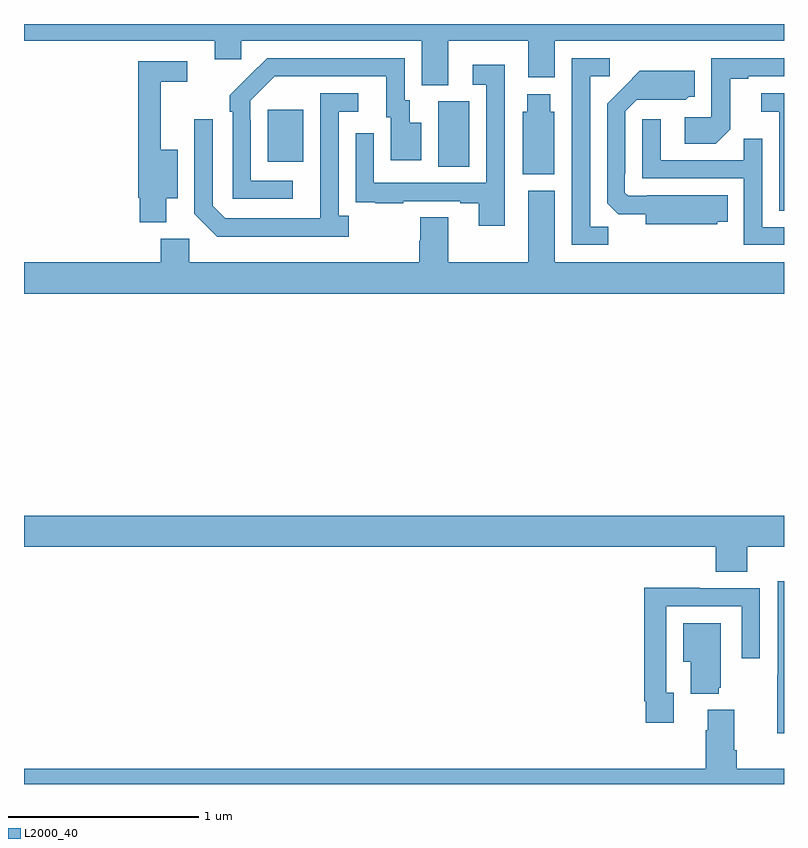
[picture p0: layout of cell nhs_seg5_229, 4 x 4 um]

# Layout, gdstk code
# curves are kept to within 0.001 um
import gdstk
lib = gdstk.Library(unit=1e-6, precision=1e-09)
def R(c, l, rs):  # rectangles x0, y0, x1, y1
    for r in rs: c.add(gdstk.rectangle(r[:2], r[2:], *l))
def P(c, l, *ps):  # polygons
    for p in ps: c.add(gdstk.Polygon(p, *l))
L2000_40 = (2000, 40)

nhs_seg5_229 = lib.new_cell('nhs_seg5_229')
R(nhs_seg5_229, L2000_40, [(125.18,904.048,125.344,904.392), (124.283,904.073,124.471,904.348)])
P(nhs_seg5_229, L2000_40, [(125.233,904.712),(125.654,904.712),(125.654,904.518),(125.794,904.518),(125.794,904.712),(127,904.712),(127,904.799),(123,904.799),(123,904.712),(124.004,904.712),(124.004,904.614),(124.143,904.614),(124.143,904.712),(125.093,904.712),(125.093,904.477),(125.233,904.477)],
  [(124.414,903.975),(124.194,903.975),(124.194,904.295),(124.191,904.295),(124.191,904.395),(124.32,904.524),(124.907,904.524),(124.907,904.308),(124.931,904.308),(124.931,904.083),(125.092,904.083),(125.092,904.279),(125.029,904.279),(125.029,904.398),(125.004,904.398),(125.004,904.62),(124.28,904.62),(124.083,904.425),(124.083,904.337),(124.098,904.337),(124.098,903.879),(124.414,903.879)],
  [(126.075,903.731),(125.979,903.731),(125.979,904.524),(126.082,904.524),(126.082,904.62),(125.883,904.62),(125.883,903.636),(126.075,903.636)],
  [(126.717,904.244),(126.717,904.512),(126.811,904.512),(126.811,904.524),(127,904.524),(127,904.62),(126.618,904.62),(126.618,904.308),(126.477,904.308),(126.477,904.168),(126.641,904.168)],
  [(123.748,903.881),(123.808,903.881),(123.808,904.138),(123.719,904.138),(123.719,904.494),(123.859,904.494),(123.859,904.602),(123.601,904.602),(123.601,903.885),(123.608,903.885),(123.608,903.755),(123.748,903.755)],
  [(125.529,904.585),(125.361,904.585),(125.361,904.479),(125.433,904.479),(125.433,903.963),(124.842,903.963),(124.842,904.225),(124.746,904.225),(124.746,903.97),(124.747,903.97),(124.747,903.861),(124.849,903.861),(124.849,903.855),(124.997,903.855),(124.997,903.867),(125.297,903.867),(125.297,903.855),(125.393,903.855),(125.393,903.738),(125.529,903.738)],
  [(126.648,903.758),(126.704,903.758),(126.704,903.898),(126.28,903.898),(126.28,903.894),(126.18,903.894),(126.162,903.912),(126.162,904.012),(126.165,904.012),(126.165,904.341),(126.225,904.401),(126.482,904.4),(126.498,904.416),(126.529,904.416),(126.529,904.552),(126.241,904.552),(126.069,904.378),(126.069,903.856),(126.128,903.797),(126.272,903.797),(126.272,903.746),(126.648,903.746)],
  [(124.708,903.79),(124.656,903.79),(124.656,904.338),(124.759,904.338),(124.759,904.434),(124.56,904.434),(124.559,903.777),(124.059,903.777),(123.993,903.843),(123.993,904.297),(123.897,904.297),(123.897,903.801),(124.018,903.68),(124.708,903.68)],
  [(127,904.434),(126.879,904.434),(126.879,904.337),(126.975,904.337),(126.975,903.817),(127,903.817)],
  [(125.791,904.338),(125.77,904.338),(125.77,904.429),(125.648,904.429),(125.648,904.338),(125.624,904.338),(125.624,904.007),(125.791,904.007)],
  [(127,903.729),(126.885,903.729),(126.885,904.196),(126.787,904.196),(126.787,904.083),(126.351,904.083),(126.351,904.297),(126.255,904.297),(126.255,903.987),(126.789,903.987),(126.789,903.636),(127,903.636)],
  [(127,903.544),(125.794,903.544),(125.794,903.922),(125.654,903.922),(125.654,903.544),(125.233,903.544),(125.233,903.782),(125.086,903.782),(125.086,903.657),(125.081,903.657),(125.081,903.544),(123.87,903.544),(123.87,903.67),(123.719,903.67),(123.719,903.544),(123,903.544),(123,903.38),(127,903.38)],
  [(126.806,902.048),(127,902.048),(127,902.212),(123,902.212),(123,902.048),(126.641,902.048),(126.641,901.915),(126.806,901.915)],
  [(127,901.867),(126.966,901.867),(126.966,901.373),(126.964,901.373),(126.964,901.067),(127,901.067)],
  [(126.421,901.278),(126.381,901.278),(126.381,901.734),(126.777,901.734),(126.777,901.461),(126.873,901.461),(126.873,901.83),(126.557,901.83),(126.557,901.832),(126.265,901.832),(126.265,901.234),(126.273,901.234),(126.273,901.122),(126.421,901.122)],
  [(126.656,901.305),(126.667,901.305),(126.667,901.645),(126.47,901.645),(126.47,901.442),(126.509,901.442),(126.509,901.274),(126.656,901.274)],
  [(127,900.88),(126.752,900.88),(126.752,900.976),(126.739,900.976),(126.739,901.189),(126.599,901.189),(126.599,901.082),(126.587,901.082),(126.587,900.88),(123,900.88),(123,900.799),(127,900.799)])

lib.write_gds('nhs_seg5_229.gds')
